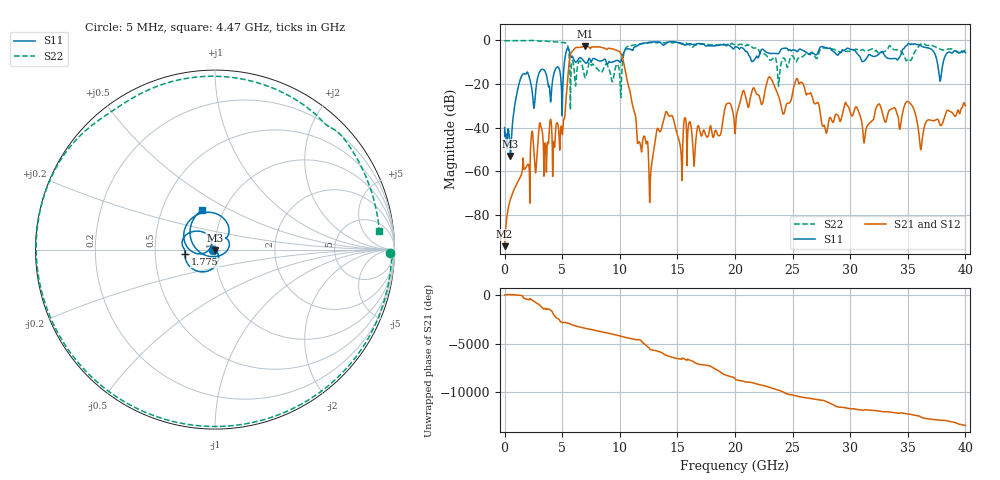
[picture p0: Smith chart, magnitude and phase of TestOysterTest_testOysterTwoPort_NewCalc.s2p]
! File created by SignalIntegrity v1.1.1: Signal and Power Integrity Tools
! https://github.com/TeledyneLeCroy/SignalIntegrity
# MHz MA S R 50.0
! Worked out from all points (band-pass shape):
!   8000 points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, 5 MHz to 40 GHz, reference 50 ohm
!   highest |S21| = -2.54 dB at 7.015 GHz (marker M1); lowest = -94.4 dB at 5 MHz (marker M2)
!   |S21| within 3 dB of the highest: 5.794 GHz to 10.05 GHz (4.259 GHz wide, 53.7 % of centre)
!   lowest |S11| = -53.1 dB at 515 MHz (marker M3), VSWR 1.00, Z = 49.9 - j0.203 ohm
!   |S11| at or under -10 dB: start of sweep to 5.198 GHz; 6.954 GHz to 7.184 GHz (229.8 MHz wide, 3.25 % of centre); 37.56 GHz to 38.07 GHz (514.7 MHz wide, 1.36 % of centre)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
!   |S22| runs from -31.8 to 0.0 dB; largest |S21 - S12| = 1.2e-05
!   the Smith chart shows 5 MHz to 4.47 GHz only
!   S11 on the Smith chart (normalised r, x): 5 MHz: 0.98, -0.01; 1.775 GHz: 0.71, -0.04; 4.47 GHz: 0.79, +0.37
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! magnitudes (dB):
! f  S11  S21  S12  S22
! 5 MHz  -40.0  -94.4  -94.4  -0.2
! 515 MHz  -53.1  -72.8  -72.8  -0.1
! 1.775 GHz  -15.4  -59.0  -59.0  -0.1
! 2.545 GHz  -31.0  -50.6  -50.6  0.0
! 4.47 GHz  -12.7  -39.1  -39.1  -0.7
! 4.96 GHz  -25.5  -40.1  -40.1  -0.9
! 5.785 GHz  -7.8  -5.6  -5.6  -12.6
! 6.675 GHz  -8.2  -3.1  -3.1  -10.5
! 7.015 GHz  -10.3  -2.5  -2.5  -17.2
! 10.09 GHz  -9.9  -5.8  -5.8  -26.3
! 12.68 GHz  -0.8  -61.8  -61.8  -1.1
! 13.34 GHz  -0.7  -40.7  -40.7  -0.9
! 20 GHz  -3.0  -42.7  -42.7  -2.0
! 23 GHz  -5.9  -16.8  -16.8  -8.9
! 24.19 GHz  -3.6  -33.8  -33.8  -8.1
! 26.67 GHz  -5.4  -25.3  -25.3  -6.0
! 27.84 GHz  -3.3  -41.2  -41.2  -3.5
! 33.34 GHz  -8.3  -32.6  -32.6  -3.1
! 35.16 GHz  -1.8  -28.6  -28.6  -9.0
! 36.15 GHz  -2.5  -50.0  -50.0  -1.6
! 37.81 GHz  -18.7  -38.9  -38.9  -4.1
! 40 GHz  -5.6  -30.0  -30.0  -4.4
